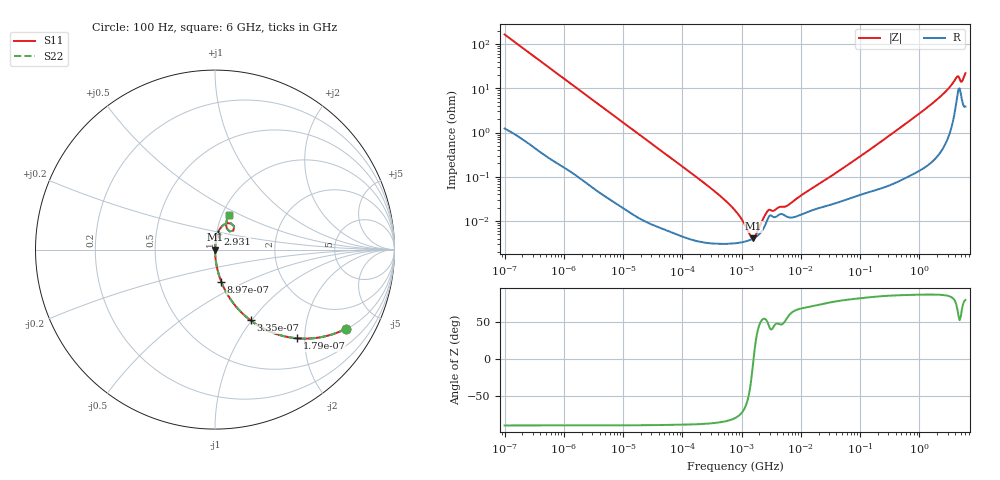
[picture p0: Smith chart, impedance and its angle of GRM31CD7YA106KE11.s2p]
!Murata Part Number: GRM31CD7YA106KE11
!These Parameters are Measured in Series Mode Connection
!Data Generated on Mar 30, 2021
!  o--ll--o
!Port1  Port2
!  o------o
!Operation Temp=25[degC], DC Bias Voltage=0[V]
!Freq. Start=100[Hz] Stop=6[GHz] 401[Steps]
# Hz S RI R 50
!Freq.(Hz) S11(Real) S11(Imag) S21(Real) S21(Imag) S12(Real) S12(Imag) S22(Real) S22(Imag)
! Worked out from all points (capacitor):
!   401 points, 100 Hz to 6 GHz, reference 50 ohm
!   read as one part in series: C = 9.67 uF near 109 Hz
!   lowest |Z| = 4.05 mohm at 1.586 MHz (marker M1)
!   series resonance near 1.593 MHz, so ESL is about 1 nH
!   S11 on the Smith chart (normalised r, x): 100 Hz: 1.02, -3.28; 179 Hz: 1.02, -1.84; 335 Hz: 1.01, -0.99; 897 Hz: 1.00, -0.37; 2.931 GHz: 1.01, +0.18; 6 GHz: 1.08, +0.43
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100  0.728 -0.4412  0.272 0.4412  0.272 0.4412  0.728 -0.4412
179  0.4591 -0.4941  0.5409 0.4941  0.5409 0.4941  0.4591 -0.4941
335  0.1981 -0.3942  0.8019 0.3942  0.8019 0.3942  0.1981 -0.3942
524  0.093 -0.286  0.907 0.286  0.907 0.286  0.093 -0.286
897  0.0348 -0.1786  0.9652 0.1786  0.9652 0.1786  0.0348 -0.1786
2008  0.00772 -0.0825  0.9923 0.0825  0.9923 0.0825  0.00772 -0.0825
6433  0.000971 -0.0261  0.999 0.0261  0.999 0.0261  0.000971 -0.0261
40335  8.95e-05 -0.00422  0.9999 0.00422  0.9999 0.00422  8.95e-05 -0.00422
330837  3.12e-05 -0.0005  1 0.0005  1 0.0005  3.12e-05 -0.0005
774597  3.14e-05 -0.000172  1 0.000172  1 0.000172  3.14e-05 -0.000172
1059725  3.35e-05 -9.23e-05  1 9.23e-05  1 9.23e-05  3.35e-05 -9.23e-05
1585629  4.05e-05 -1e-06  1 1e-06  1 1e-06  4.05e-05 -1e-06
2074311  5.37e-05 6.27e-05  0.9999 -6.27e-05  0.9999 -6.27e-05  5.37e-05 6.27e-05
2837864  0.00012 0.000129  0.9999 -0.000129  0.9999 -0.000129  0.00012 0.000129
5809218  0.000126 0.00018  0.9999 -0.00018  0.9999 -0.00018  0.000126 0.00018
1.555665e7  0.000175 0.000522  0.9998 -0.000522  0.9998 -0.000522  0.000175 0.000522
3.124326e8  0.000709 0.00849  0.9993 -0.00849  0.9993 -0.00849  0.000709 0.00849
1.369159e9  0.00314 0.0368  0.9969 -0.0368  0.9969 -0.0368  0.00314 0.0368
2.931063e9  0.0145 0.0885  0.9855 -0.0885  0.9855 -0.0885  0.0145 0.0885
4.193612e9  0.0673 0.1469  0.9327 -0.1469  0.9327 -0.1469  0.0673 0.1469
5.245841e9  0.0663 0.1163  0.9337 -0.1163  0.9337 -0.1163  0.0663 0.1163
6e9  0.0771 0.1922  0.9229 -0.1922  0.9229 -0.1922  0.0771 0.1922
